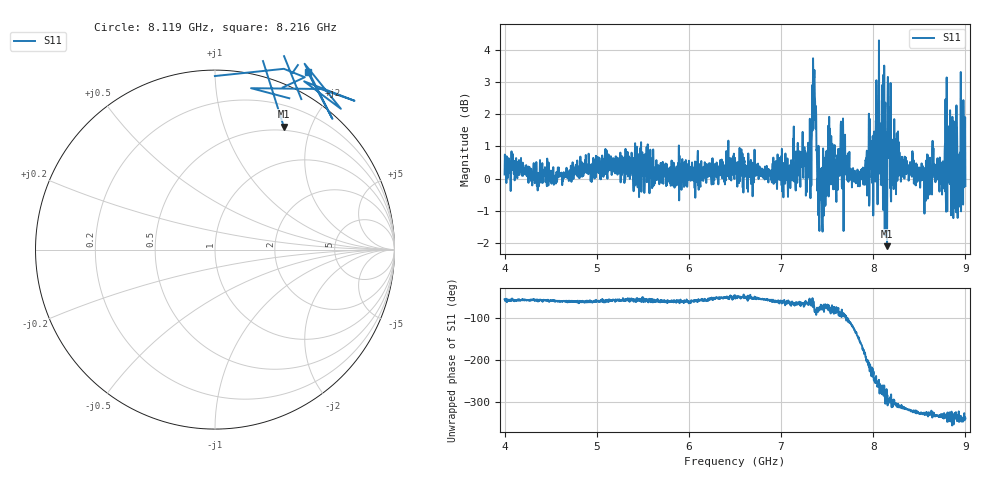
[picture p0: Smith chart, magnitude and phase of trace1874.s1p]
! Created with skrf 1.8.0 (http://scikit-rf.org).
# Hz S RI R 50.0
!freq ReS11 ImS11
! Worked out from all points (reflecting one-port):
!   1601 points, 4 GHz to 9 GHz, reference 50 ohm
!   lowest |S11| = -2.1 dB at 8.15 GHz (marker M1), VSWR 8.32, Z = 22.5 + j80.6 ohm
!   phase of S11 starts at -56 deg and turns -284 deg over the sweep
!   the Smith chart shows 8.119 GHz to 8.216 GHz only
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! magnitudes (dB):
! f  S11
! 4 GHz  0.1
! 4.625 GHz  -0.2
! 5.25 GHz  0.2
! 5.875 GHz  0.2
! 6.5 GHz  0.6
! 7.125 GHz  0.5
! 7.294 GHz  1.1
! 7.356 GHz  3.3
! 7.372 GHz  2.0
! 7.397 GHz  0.0
! 7.425 GHz  0.3
! 7.538 GHz  0.6
! 7.591 GHz  0.3
! 7.65 GHz  1.8
! 7.75 GHz  0.1
! 7.981 GHz  1.2
! 8.053 GHz  -0.2
! 8.066 GHz  1.2
! 8.097 GHz  1.4
! 8.15 GHz  -2.1
! 8.178 GHz  2.2
! 8.375 GHz  0.3
! 8.578 GHz  -0.4
! 8.769 GHz  -0.3
! 8.822 GHz  0.3
! 8.919 GHz  0.0
! 8.972 GHz  0.7
! 9 GHz  -0.2
